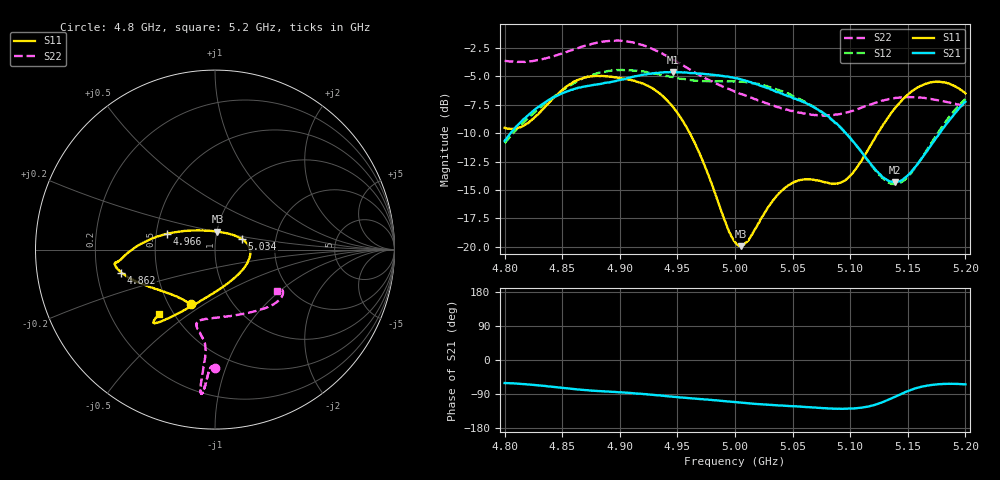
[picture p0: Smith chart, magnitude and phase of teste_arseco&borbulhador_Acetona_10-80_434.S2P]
! Network Analyzer HP8722D
! Hewlett-Packard
! Data name: Linha & Wilkinson
! Saver's name: Rodrigo Anjos
! Comments: Teste da utilização de aquisição
! continua pelo VNA HP8722D
! Time and date: 17/4/2025 17:58
!  Frequency  S11  S21  S12  S22
# HZ  S  MA R 50
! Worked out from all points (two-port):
!   401 points, 4.8 GHz to 5.2 GHz, reference 50 ohm
!   highest |S21| = -4.62 dB at 4.946 GHz (marker M1); lowest = -14.3 dB at 5.139 GHz (marker M2)
!   |S21| within 3 dB of the highest: 4.83 GHz to 5.067 GHz (236.1 MHz wide, 4.77 % of centre); 5.196401 GHz to end of sweep
!   lowest |S11| = -19.9 dB at 5.005 GHz (marker M3), VSWR 1.22, Z = 50.4 + j10.1 ohm
!   |S11| at or under -10 dB: 4.961 GHz to 5.124 GHz (163.3 MHz wide, 3.24 % of centre)
!   |S22| runs from -8.5 to -1.9 dB; largest |S21 - S12| = 0.88
!   S11 on the Smith chart (normalised r, x): 4.8 GHz: 0.65, -0.44; 4.862 GHz: 0.30, -0.11; 4.966 GHz: 0.57, +0.11; 5.034 GHz: 1.35, +0.16; 5.2 GHz: 0.42, -0.39
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4.8e9  0.3335 -113.5  0.2922 -60.8  0.2859 -175.0  0.6576 -90.0
4.819e9  0.3474 -133.6  0.3735 -64.1  0.3619 -173.7  0.6535 -91.6
4.862e9  0.5379 -166.2  0.4974 -77.3  0.5319 -176.9  0.7435 -93.9
4.867e9  0.5498 -168.2  0.5044 -78.7  0.5471 -177.9  0.7584 -94.1
4.899e9  0.5526 -172.8  0.5403 -85.2  0.5992 175.5  0.8056 -95.5
4.934e9  0.4752 -178.7  0.5823 -93.5  0.5739 171.8  0.7181 -95.9
4.946e9  0.4127 175.5  0.5874 -96.9  0.5583 172.0  0.6669 -95.7
4.966e9  0.2797 161.6  0.5796 -102.1  0.5379 173.8  0.5804 -95.2
5e9  0.1048 98.9  0.5519 -111.2  0.5352 176.2  0.4797 -99.4
5.005e9  0.1007 82.1  0.5453 -112.6  0.5312 176.2  0.4699 -100.5
5.013e9  0.1098 57.5  0.5307 -114.6  0.5263 175.8  0.4544 -102.1
5.034e9  0.1622 20.7  0.4852 -119.2  0.4974 174.8  0.4167 -103.6
5.051e9  0.1921 3.5  0.4484 -121.9  0.4582 174.0  0.3947 -99.2
5.067e9  0.1975 -13.7  0.4144 -124.9  0.4172 173.7  0.3802 -90.7
5.085e9  0.1897 -42.1  0.3586 -128.4  0.3591 173.6  0.3804 -77.1
5.097e9  0.1982 -66.7  0.3123 -128.7  0.3124 174.7  0.3896 -67.1
5.134e9  0.377 -116.9  0.1942 -103.8  0.1909 -156.8  0.4469 -43.0
5.139e9  0.408 -119.8  0.1922 -96.7  0.1889 -148.8  0.4515 -40.8
5.151e9  0.4715 -124.9  0.2084 -81.0  0.2057 -130.4  0.4555 -36.4
5.17e9  0.5284 -129.2  0.2787 -66.1  0.2843 -112.3  0.4469 -32.0
5.184e9  0.5246 -130.6  0.3499 -62.9  0.3614 -107.2  0.4329 -31.0
5.2e9  0.473 -131.0  0.4344 -64.3  0.4467 -106.5  0.4165 -33.4
